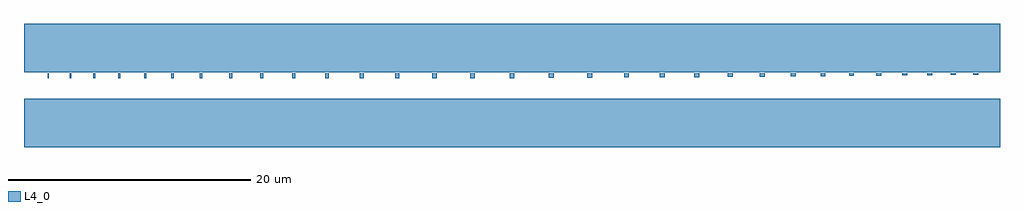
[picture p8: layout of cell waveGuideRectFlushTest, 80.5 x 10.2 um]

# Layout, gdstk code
import gdstk
lib = gdstk.Library(unit=1e-6, precision=1e-09)
def R(c, l, rs):  # rectangles x0, y0, x1, y1
    for r in rs: c.add(gdstk.rectangle(r[:2], r[2:], *l))
L4_0 = (4, 0)

waveguiderectflushtest = lib.new_cell('waveGuideRectFlushTest')
R(waveguiderectflushtest, L4_0, [(-40.25,-5.1,40.25,-1.1), (-38.3,0.6,-38.2,1), (-36.46,0.6,-36.34,1), (-34.52,0.6,-34.38,1), (-32.48,0.6,-32.32,1), (-30.34,0.6,-30.16,1), (-28.1,0.6,-27.9,1), (-25.76,0.6,-25.54,1), (-23.32,0.6,-23.08,1), (-20.78,0.6,-20.52,1), (-18.14,0.6,-17.86,1), (-15.4,0.6,-15.1,1), (-12.56,0.6,-12.24,1), (-9.62,0.6,-9.28,1), (-6.58,0.6,-6.22,1), (-3.44,0.6,-3.06,1), (-0.2,0.6,0.2,1), (3.05,0.62,3.45,1), (6.2,0.64,6.6,1), (9.25,0.66,9.65,1), (12.2,0.68,12.6,1), (15.05,0.7,15.45,1), (17.8,0.72,18.2,1), (20.45,0.74,20.85,1), (23,0.76,23.4,1), (25.45,0.78,25.85,1), (27.8,0.8,28.2,1), (30.05,0.82,30.45,1), (32.2,0.84,32.6,1), (34.25,0.86,34.65,1), (36.2,0.88,36.6,1), (38.05,0.9,38.45,1), (-40.25,1.1,40.25,5.1)])

lib.write_gds('waveGuideRectFlushTest.gds')
